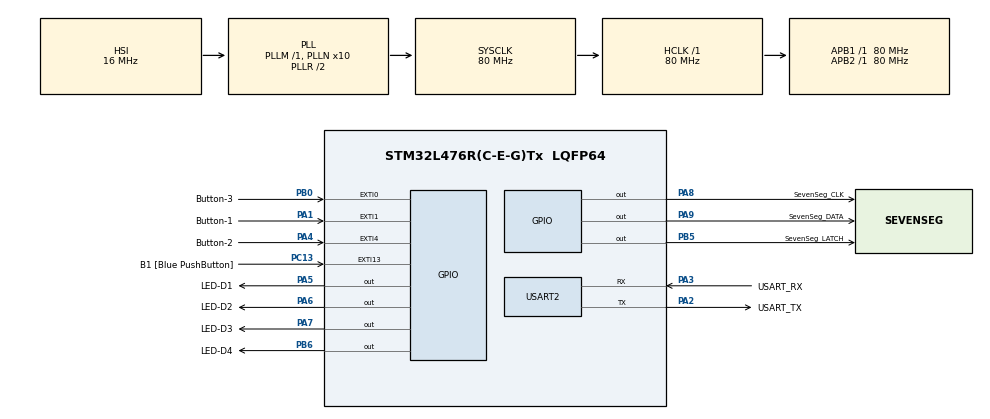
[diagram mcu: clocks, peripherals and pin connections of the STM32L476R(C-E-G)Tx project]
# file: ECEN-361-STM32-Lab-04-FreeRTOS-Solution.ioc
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FREERTOS.Tasks01=defaultTask,24,128,StartDefaultTask,Default,NULL,Dynamic,NULL,NULL
FREERTOS.configTOTAL_HEAP_SIZE=15000
FREERTOS.configUSE_NEWLIB_REENTRANT=1
Mcu.Family=STM32L4
Mcu.Name=STM32L476R(C-E-G)Tx
Mcu.Package=LQFP64
NVIC.EXTI0_IRQn=true\:5\:0\:false\:false\:true\:true\:true\:true\:true
NVIC.EXTI1_IRQn=true\:5\:0\:false\:false\:true\:true\:true\:true\:true
NVIC.EXTI4_IRQn=true\:5\:0\:false\:false\:true\:true\:true\:true\:true
NVIC.PriorityGroup=NVIC_PRIORITYGROUP_4
NVIC.TIM1_TRG_COM_TIM17_IRQn=true\:5\:0\:false\:false\:true\:true\:true\:true\:true
PA0.Signal=ADCx_IN5
PA1.GPIO_Label=Button-1
PA1.GPIO_ModeDefaultEXTI=GPIO_MODE_IT_FALLING
PA1.Signal=GPXTI1
PA13\ (JTMS-SWDIO).GPIO_Label=TMS
PA13\ (JTMS-SWDIO).Mode=Serial_Wire
PA13\ (JTMS-SWDIO).Signal=SYS_JTMS-SWDIO
PA14\ (JTCK-SWCLK).GPIO_Label=TCK
PA14\ (JTCK-SWCLK).Mode=Serial_Wire
PA14\ (JTCK-SWCLK).Signal=SYS_JTCK-SWCLK
PA2.GPIO_Label=USART_TX
PA2.GPIO_Mode=GPIO_MODE_AF_PP
PA2.GPIO_PuPd=GPIO_NOPULL
PA2.GPIO_Speed=GPIO_SPEED_FREQ_VERY_HIGH
PA2.Mode=Asynchronous
PA2.Signal=USART2_TX
PA3.GPIO_Label=USART_RX
PA3.GPIO_Mode=GPIO_MODE_AF_PP
PA3.GPIO_PuPd=GPIO_NOPULL
PA3.GPIO_Speed=GPIO_SPEED_FREQ_VERY_HIGH
PA3.Mode=Asynchronous
PA3.Signal=USART2_RX
PA4.GPIO_Label=Button-2
PA4.GPIO_ModeDefaultEXTI=GPIO_MODE_IT_FALLING
PA4.Signal=GPXTI4
PA5.GPIO_Label=LED-D1
PA5.GPIO_ModeDefaultOutputPP=GPIO_MODE_OUTPUT_OD
PA5.GPIO_PuPd=GPIO_PULLUP
PA5.GPIO_Speed=GPIO_SPEED_FREQ_VERY_HIGH
PA5.PinState=GPIO_PIN_SET
PA5.Signal=GPIO_Output
PA6.GPIO_Label=LED-D2
PA6.GPIO_ModeDefaultOutputPP=GPIO_MODE_OUTPUT_OD
PA6.GPIO_PuPd=GPIO_PULLUP
PA6.GPIO_Speed=GPIO_SPEED_FREQ_LOW
PA6.PinState=GPIO_PIN_RESET
PA6.Signal=GPIO_Output
PA7.GPIO_Label=LED-D3
PA7.GPIO_ModeDefaultOutputPP=GPIO_MODE_OUTPUT_OD
PA7.GPIO_PuPd=GPIO_PULLUP
PA7.Signal=GPIO_Output
PA8.GPIO_Label=SevenSeg_CLK
PA8.Signal=GPIO_Output
PA9.GPIO_Label=SevenSeg_DATA
PA9.Signal=GPIO_Output
PB0.GPIO_Label=Button-3
PB0.GPIO_ModeDefaultEXTI=GPIO_MODE_IT_FALLING
PB0.Signal=GPXTI0
PB3\ (JTDO-TRACESWO).Signal=SYS_JTDO-SWO
PB5.GPIO_Label=SevenSeg_LATCH
PB5.Signal=GPIO_Output
PB6.GPIO_Label=LED-D4
PB6.GPIO_ModeDefaultOutputPP=GPIO_MODE_OUTPUT_OD
PB6.GPIO_PuPd=GPIO_PULLUP
PB6.Signal=GPIO_Output
PC1.GPIO_Label=LM35_IN
PC1.Signal=ADCx_IN2
PC13.GPIO_Label=B1 [Blue PushButton]
PC13.GPIO_ModeDefaultEXTI=GPIO_MODE_IT_FALLING
PC13.GPIO_PuPd=GPIO_NOPULL
PC13.Signal=GPXTI13
PC14-OSC32_IN\ (PC14).Mode=LSE-External-Oscillator
PC14-OSC32_IN\ (PC14).Signal=RCC_OSC32_IN
PC15-OSC32_OUT\ (PC15).Mode=LSE-External-Oscillator
PC15-OSC32_OUT\ (PC15).Signal=RCC_OSC32_OUT
PH0-OSC_IN\ (PH0).Signal=RCC_OSC_IN
PH1-OSC_OUT\ (PH1).Signal=RCC_OSC_OUT
ProjectManager.HeapSize=0x200
ProjectManager.StackSize=0x400
ProjectManager.TargetToolchain=STM32CubeIDE
RCC.ADCFreq_Value=64000000
RCC.AHBFreq_Value=80000000
RCC.APB1Freq_Value=80000000
RCC.APB1TimFreq_Value=80000000
RCC.APB2Freq_Value=80000000
RCC.APB2TimFreq_Value=80000000
RCC.CortexFreq_Value=80000000
RCC.HCLKFreq_Value=80000000
RCC.HSE_VALUE=8000000
RCC.HSI_VALUE=16000000
RCC.MSI_VALUE=4000000
RCC.PLLN=10
RCC.PLLSourceVirtual=RCC_PLLSOURCE_HSI
RCC.PREFETCH_ENABLE=1
RCC.SYSCLKFreq_VALUE=80000000
RCC.SYSCLKSource=RCC_SYSCLKSOURCE_PLLCLK
RCC.USBFreq_Value=64000000
RCC.VCOOutputFreq_Value=160000000
SH.ADCx_IN2.0=ADC1_IN2
SH.ADCx_IN5.0=ADC2_IN5
TIM17.Period=100
TIM17.Prescaler=800-1
USART2.VirtualMode-Asynchronous=VM_ASYNC
VP_FREERTOS_VS_CMSIS_V2.Mode=CMSIS_V2
VP_TIM17_VS_ClockSourceINT.Mode=Enable_Timer
board=NUCLEO-L476RG

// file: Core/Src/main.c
/* USER CODE BEGIN Header */
/**
  ******************************************************************************
  * @file           : main.c
  * @brief          : Main program body
  ******************************************************************************
  * @attention
  *
  * Copyright (c) 2023 STMicroelectronics.
  * All rights reserved.
  *
  * This software is licensed under terms that can be found in the LICENSE file
  * in the root directory of this software component.
  * If no LICENSE file comes with this software, it is provided AS-IS.
  *
  *
  *
  ******************************************************************************
  * @copyright	BYU-Idaho
  * @date		2023
  * @version	F23
  * @note		For course ECEN-361
  * @author		Lynn Watson
  ******************************************************************************
  *
  * Student should only modify code between
  ************** STUDENT EDITABLE HERE STARTS HERE *****
  ************** STUDENT EDITABLE HERE ENDS HERE *******
  *
  ******************************************************************************
  */
/* USER CODE END Header */
#include "main.h"
#include "cmsis_os.h"

/* USER CODE BEGIN Includes */
#include "MultiFunctionShield.h"
#include <stdbool.h>

/* USER CODE END Includes */

/* USER CODE BEGIN PD */
#define D1_time 250
#define D2_time D1_time * 2
#define D3_time D2_time * 2
#define D4_time D3_time * 2
#define count_time 4000
/* USER CODE END PD */

TIM_HandleTypeDef htim17;

UART_HandleTypeDef huart2;

/* Definitions for defaultTask */
osThreadId_t defaultTaskHandle;
const osThreadAttr_t defaultTask_attributes = {
  .name = "defaultTask",
  .stack_size = 128 * 4,
  .priority = (osPriority_t) osPriorityNormal,
};

void SystemClock_Config(void);
static void MX_GPIO_Init(void);
static void MX_USART2_UART_Init(void);
static void MX_TIM17_Init(void);
void StartDefaultTask(void *argument);

/* USER CODE BEGIN PFP */

/*************  Task-Creation-Part-A ******************/
/******** put any addtional task declarations in here ***********/
void D2_Task(void *argument);		// This is the default task working at the beginning of the lab

/************** STUDENT EDITABLE HERE STARTS HERE *****
 *    You'll want to make your own private function prototypes for the other tasks you're adding:
 *    D3 blink task
 *    D4 blink task
 *    7-segment counting task
 ************** STUDENT EDITABLE HERE ENDS HERE *******
 */

/* USER CODE END PFP */

int main(void)
{

  /* USER CODE BEGIN 1 */
  // TaskHandle_t xHandle = NULL;
  /* USER CODE END 1 */

  /* MCU Configuration--------------------------------------------------------*/

  /* Reset of all peripherals, Initializes the Flash interface and the Systick. */
  HAL_Init();

  /* Configure the system clock */
  SystemClock_Config();

  /* Initialize all configured peripherals */
  MX_GPIO_Init();
  MX_USART2_UART_Init();
  MX_TIM17_Init();
  /* USER CODE BEGIN 2 */
  MultiFunctionShield_Clear();
  Clear_LEDs();	// Note that D1 is never quite off because the Nucleo Board Built in LED
  HAL_TIM_Base_Start_IT(&htim17);  // LED SevenSeg cycle thru them
  /* USER CODE END 2 */

  /* Init scheduler */
  osKernelInitialize();

  /* Create the thread(s) */
  /* creation of defaultTask */
  defaultTaskHandle = osThreadNew(StartDefaultTask, NULL, &defaultTask_attributes);

  /* USER CODE BEGIN RTOS_THREADS */
  /*
   *************  Task-Creation-Part-B *****************
   *
   * Here's where the task ("thread")  gets put into the scheduler Queue
   */

	//xTaskCreate(D2_Task,
				//"D2_Blink",        /* Text name for the task. */
	            //1000,      /* Stack size in words, not bytes. */
	            //( void * ) 1,    /* Parameter passed into the task. */
				//tskIDLE_PRIORITY,/* Priority at which the task is created. */
	            //&xHandle );

	osThreadNew(D2_Task, "D2 Blink", &defaultTask_attributes);	// This launches the
	/*
	 *
     ************** STUDENT EDITABLE HERE STARTS HERE *****
     ************  Task-Creation-Part-C *****************
     ************  Here's where the task gets launched into the OS queue of tasks
     ************  See the above one for the D2_Task

	 ************** STUDENT EDITABLE HERE ENDS HERE *******
	 */

  /* add threads, ... */
  /* USER CODE END RTOS_THREADS */

  /* USER CODE BEGIN RTOS_EVENTS */
  /* add events, ... */
	MultiFunctionShield_Display (4444);  // Lab-04 -- show all 4444's to start

  /* USER CODE END RTOS_EVENTS */

  /* Start scheduler */
  osKernelStart();

  /* We should never get here as control is now taken by the scheduler */

  /* Infinite loop */
  while (1)
  {

  }
}

void SystemClock_Config(void)
{
  RCC_OscInitTypeDef RCC_OscInitStruct = {0};
  RCC_ClkInitTypeDef RCC_ClkInitStruct = {0};

  /** Configure the main internal regulator output voltage
  */
  if (HAL_PWREx_ControlVoltageScaling(PWR_REGULATOR_VOLTAGE_SCALE1) != HAL_OK)
  {
    Error_Handler();
  }

  /** Initializes the RCC Oscillators according to the specified parameters
  * in the RCC_OscInitTypeDef structure.
  */
  RCC_OscInitStruct.OscillatorType = RCC_OSCILLATORTYPE_HSI;
  RCC_OscInitStruct.HSIState = RCC_HSI_ON;
  RCC_OscInitStruct.HSICalibrationValue = RCC_HSICALIBRATION_DEFAULT;
  RCC_OscInitStruct.PLL.PLLState = RCC_PLL_ON;
  RCC_OscInitStruct.PLL.PLLSource = RCC_PLLSOURCE_HSI;
  RCC_OscInitStruct.PLL.PLLM = 1;
  RCC_OscInitStruct.PLL.PLLN = 10;
  RCC_OscInitStruct.PLL.PLLP = RCC_PLLP_DIV7;
  RCC_OscInitStruct.PLL.PLLQ = RCC_PLLQ_DIV2;
  RCC_OscInitStruct.PLL.PLLR = RCC_PLLR_DIV2;
  if (HAL_RCC_OscConfig(&RCC_OscInitStruct) != HAL_OK)
  {
    Error_Handler();
  }

  /** Initializes the CPU, AHB and APB buses clocks
  */
  RCC_ClkInitStruct.ClockType = RCC_CLOCKTYPE_HCLK|RCC_CLOCKTYPE_SYSCLK
                              |RCC_CLOCKTYPE_PCLK1|RCC_CLOCKTYPE_PCLK2;
  RCC_ClkInitStruct.SYSCLKSource = RCC_SYSCLKSOURCE_PLLCLK;
  RCC_ClkInitStruct.AHBCLKDivider = RCC_SYSCLK_DIV1;
  RCC_ClkInitStruct.APB1CLKDivider = RCC_HCLK_DIV1;
  RCC_ClkInitStruct.APB2CLKDivider = RCC_HCLK_DIV1;

  if (HAL_RCC_ClockConfig(&RCC_ClkInitStruct, FLASH_LATENCY_4) != HAL_OK)
  {
    Error_Handler();
  }
}

static void MX_TIM17_Init(void)
{

  htim17.Instance = TIM17;
  htim17.Init.Prescaler = 800-1;
  htim17.Init.CounterMode = TIM_COUNTERMODE_UP;
  htim17.Init.Period = 100;
  htim17.Init.ClockDivision = TIM_CLOCKDIVISION_DIV1;
  htim17.Init.RepetitionCounter = 0;
  htim17.Init.AutoReloadPreload = TIM_AUTORELOAD_PRELOAD_DISABLE;
  if (HAL_TIM_Base_Init(&htim17) != HAL_OK)
  {
    Error_Handler();
  }

}

static void MX_USART2_UART_Init(void)
{

  huart2.Instance = USART2;
  huart2.Init.BaudRate = 115200;
  huart2.Init.WordLength = UART_WORDLENGTH_8B;
  huart2.Init.StopBits = UART_STOPBITS_1;
  huart2.Init.Parity = UART_PARITY_NONE;
  huart2.Init.Mode = UART_MODE_TX_RX;
  huart2.Init.HwFlowCtl = UART_HWCONTROL_NONE;
  huart2.Init.OverSampling = UART_OVERSAMPLING_16;
  huart2.Init.OneBitSampling = UART_ONE_BIT_SAMPLE_DISABLE;
  huart2.AdvancedInit.AdvFeatureInit = UART_ADVFEATURE_NO_INIT;
  if (HAL_UART_Init(&huart2) != HAL_OK)
  {
    Error_Handler();
  }

}

static void MX_GPIO_Init(void)
{
  GPIO_InitTypeDef GPIO_InitStruct = {0};

  /* GPIO Ports Clock Enable */
  __HAL_RCC_GPIOC_CLK_ENABLE();
  __HAL_RCC_GPIOH_CLK_ENABLE();
  __HAL_RCC_GPIOA_CLK_ENABLE();
  __HAL_RCC_GPIOB_CLK_ENABLE();

  /*Configure GPIO pin Output Level */
  HAL_GPIO_WritePin(LED_D1_GPIO_Port, LED_D1_Pin, GPIO_PIN_SET);

  /*Configure GPIO pin Output Level */
  HAL_GPIO_WritePin(GPIOA, LED_D2_Pin|LED_D3_Pin|SevenSeg_CLK_Pin|SevenSeg_DATA_Pin, GPIO_PIN_RESET);

  /*Configure GPIO pin Output Level */
  HAL_GPIO_WritePin(GPIOB, SevenSeg_LATCH_Pin|LED_D4_Pin, GPIO_PIN_RESET);

  /*Configure GPIO pin : B1_Pin */
  GPIO_InitStruct.Pin = B1_Pin;
  GPIO_InitStruct.Mode = GPIO_MODE_IT_FALLING;
  GPIO_InitStruct.Pull = GPIO_NOPULL;
  HAL_GPIO_Init(B1_GPIO_Port, &GPIO_InitStruct);

  /*Configure GPIO pin : LM35_IN_Pin */
  GPIO_InitStruct.Pin = LM35_IN_Pin;
  GPIO_InitStruct.Mode = GPIO_MODE_ANALOG_ADC_CONTROL;
  GPIO_InitStruct.Pull = GPIO_NOPULL;
  HAL_GPIO_Init(LM35_IN_GPIO_Port, &GPIO_InitStruct);

  /*Configure GPIO pin : PA0 */
  GPIO_InitStruct.Pin = GPIO_PIN_0;
  GPIO_InitStruct.Mode = GPIO_MODE_ANALOG_ADC_CONTROL;
  GPIO_InitStruct.Pull = GPIO_NOPULL;
  HAL_GPIO_Init(GPIOA, &GPIO_InitStruct);

  /*Configure GPIO pins : Button_1_Pin Button_2_Pin */
  GPIO_InitStruct.Pin = Button_1_Pin|Button_2_Pin;
  GPIO_InitStruct.Mode = GPIO_MODE_IT_FALLING;
  GPIO_InitStruct.Pull = GPIO_NOPULL;
  HAL_GPIO_Init(GPIOA, &GPIO_InitStruct);

  /*Configure GPIO pin : LED_D1_Pin */
  GPIO_InitStruct.Pin = LED_D1_Pin;
  GPIO_InitStruct.Mode = GPIO_MODE_OUTPUT_OD;
  GPIO_InitStruct.Pull = GPIO_PULLUP;
  GPIO_InitStruct.Speed = GPIO_SPEED_FREQ_VERY_HIGH;
  HAL_GPIO_Init(LED_D1_GPIO_Port, &GPIO_InitStruct);

  /*Configure GPIO pins : LED_D2_Pin LED_D3_Pin */
  GPIO_InitStruct.Pin = LED_D2_Pin|LED_D3_Pin;
  GPIO_InitStruct.Mode = GPIO_MODE_OUTPUT_OD;
  GPIO_InitStruct.Pull = GPIO_PULLUP;
  GPIO_InitStruct.Speed = GPIO_SPEED_FREQ_LOW;
  HAL_GPIO_Init(GPIOA, &GPIO_InitStruct);

  /*Configure GPIO pin : Button_3_Pin */
  GPIO_InitStruct.Pin = Button_3_Pin;
  GPIO_InitStruct.Mode = GPIO_MODE_IT_FALLING;
  GPIO_InitStruct.Pull = GPIO_NOPULL;
  HAL_GPIO_Init(Button_3_GPIO_Port, &GPIO_InitStruct);

  /*Configure GPIO pins : SevenSeg_CLK_Pin SevenSeg_DATA_Pin */
  GPIO_InitStruct.Pin = SevenSeg_CLK_Pin|SevenSeg_DATA_Pin;
  GPIO_InitStruct.Mode = GPIO_MODE_OUTPUT_PP;
  GPIO_InitStruct.Pull = GPIO_NOPULL;
  GPIO_InitStruct.Speed = GPIO_SPEED_FREQ_LOW;
  HAL_GPIO_Init(GPIOA, &GPIO_InitStruct);

  /*Configure GPIO pin : SevenSeg_LATCH_Pin */
  GPIO_InitStruct.Pin = SevenSeg_LATCH_Pin;
  GPIO_InitStruct.Mode = GPIO_MODE_OUTPUT_PP;
  GPIO_InitStruct.Pull = GPIO_NOPULL;
  GPIO_InitStruct.Speed = GPIO_SPEED_FREQ_LOW;
  HAL_GPIO_Init(SevenSeg_LATCH_GPIO_Port, &GPIO_InitStruct);

  /*Configure GPIO pin : LED_D4_Pin */
  GPIO_InitStruct.Pin = LED_D4_Pin;
  GPIO_InitStruct.Mode = GPIO_MODE_OUTPUT_OD;
  GPIO_InitStruct.Pull = GPIO_PULLUP;
  GPIO_InitStruct.Speed = GPIO_SPEED_FREQ_LOW;
  HAL_GPIO_Init(LED_D4_GPIO_Port, &GPIO_InitStruct);

  /* EXTI interrupt init*/
  HAL_NVIC_SetPriority(EXTI0_IRQn, 5, 0);
  HAL_NVIC_EnableIRQ(EXTI0_IRQn);

  HAL_NVIC_SetPriority(EXTI1_IRQn, 5, 0);
  HAL_NVIC_EnableIRQ(EXTI1_IRQn);

  HAL_NVIC_SetPriority(EXTI4_IRQn, 5, 0);
  HAL_NVIC_EnableIRQ(EXTI4_IRQn);

}

/* USER CODE BEGIN 4 */

/*
    ************  Task-Creation-Part-B *****************
*/
void D2_Task(void *argument)
    { while(true)
        { HAL_GPIO_TogglePin(LED_D2_GPIO_Port,LED_D2_Pin);
            osDelay(D2_time);
        }
    }

/************** STUDENT EDITABLE HERE STARTS HERE *****
    ************
    ************  Here's where the definition of the task (the 'callback') gets made
    ************  See the above one for the D2_Task
    Put definition of other tasks here

    ************** STUDENT EDITABLE HERE ENDS HERE *******
*/

/* USER CODE END 4 */

void StartDefaultTask(void *argument)
{
  /* USER CODE BEGIN 5 */
/* This task is created automatically and can't be deleted
*/
/* Infinite loop */
  for(;;)
  {
  HAL_GPIO_WritePin(LED_D1_GPIO_Port,LED_D1_Pin,1); //Active low on the multiboard
  osDelay(D1_time);
  }
  // If we goof, exit gracefully
  osThreadTerminate(NULL);
  /* USER CODE END 5 */
}

void HAL_TIM_PeriodElapsedCallback(TIM_HandleTypeDef *htim)
{
  /* USER CODE BEGIN Callback 0 */
	// Check which version of the timer triggered this callback and toggle the right LED
	/** This timer has to be here to cycle thru the 7-Seg LED displays **/
	  if (htim == &htim17 )
	  {
		  MultiFunctionShield__ISRFunc();
	  }

  /* USER CODE END Callback 0 */
  if (htim->Instance == TIM3)
  {
    HAL_IncTick();
  }
}

void Error_Handler(void)
{
  __disable_irq();
  while (1)
  {
  }
}
